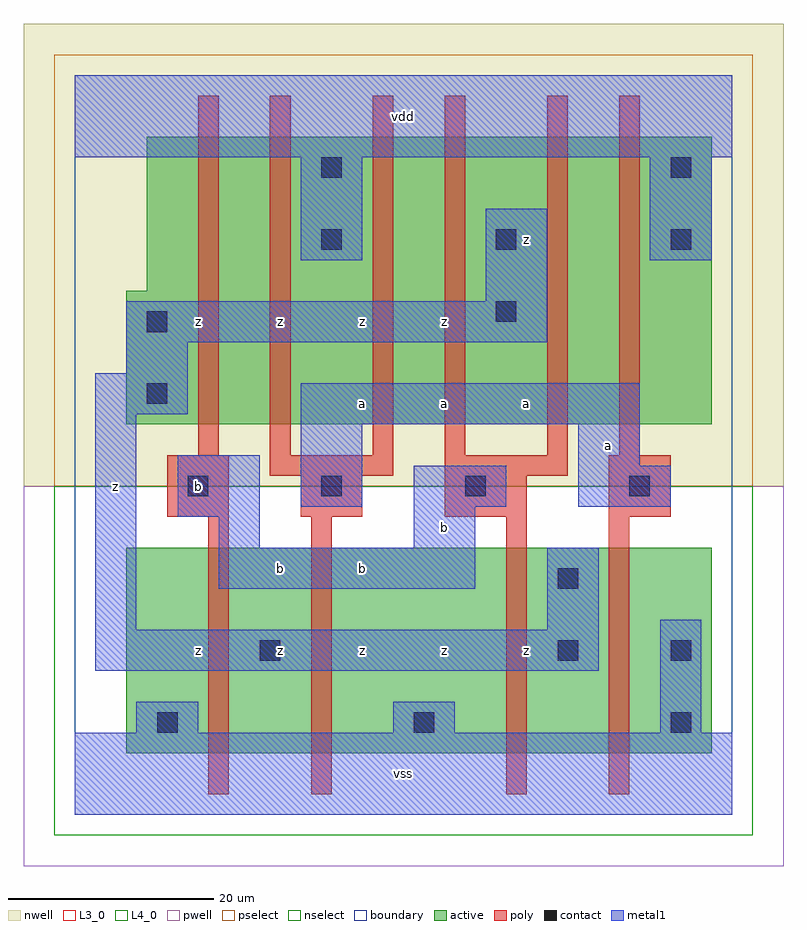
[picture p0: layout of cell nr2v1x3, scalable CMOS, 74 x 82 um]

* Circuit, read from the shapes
.subckt nr2v1x3 a b vdd vss z
M1 z b vss VSUBS nfet w=20u l=2u m=2
M2 vss a z VSUBS nfet w=20u l=2u m=2
M3 n1 b z n2 pfet w=28u l=2u
M4 vdd a n1 n2 pfet w=28u l=2u
M5 n3 a vdd n2 pfet w=28u l=2u
M6 z b n3 n2 pfet w=28u l=2u
M7 n4 b z n2 pfet w=28u l=2u
M8 vdd a n4 n2 pfet w=28u l=2u
.ends

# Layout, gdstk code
import gdstk
lib = gdstk.Library(unit=1e-6, precision=1e-09)
def R(c, l, rs):  # rectangles x0, y0, x1, y1
    for r in rs: c.add(gdstk.rectangle(r[:2], r[2:], *l))
def A(c, l, x, y, w, h, nx, ny, dx, dy):  # array of equal rectangles
    R(c, l, [(x+i*dx, y+j*dy, x+i*dx+w, y+j*dy+h) for i in range(nx) for j in range(ny)])
L3_0 = (3, 0)
L4_0 = (4, 0)
contact = (25, 0)
pwell = (41, 0)
nwell = (42, 0)
active = (43, 0)
pselect = (44, 0)
nselect = (45, 0)
poly = (46, 0)
metal1 = (49, 0)
boundary = (63, 0)

nr2v1x3 = lib.new_cell('nr2v1x3')
R(nr2v1x3, L3_0, [(5,6,62,26)])
R(nr2v1x3, L4_0, [(5,38,62,51), (7,51,62,66)])
A(nr2v1x3, contact, 8, 8, 2, 2, 3, 1, 25, 0)
A(nr2v1x3, contact, 24, 55, 2, 2, 3, 1, 17, 0)
R(nr2v1x3, contact, [(18,15,20,17), (47,15,49,17), (58,15,60,17), (47,22,49,24), (11,31,13,33), (24,31,26,33), (38,31,40,33), (54,31,56,33), (7,40,9,42), (7,47,9,49), (41,48,43,50), (24,62,26,64), (58,62,60,64)])
R(nr2v1x3, pwell, [(-5,-5,69,32)])
R(nr2v1x3, nwell, [(-5,32,69,77)])
R(nr2v1x3, active, [(5,6,62,26), (5,38,62,51), (7,51,62,66)])
R(nr2v1x3, pselect, [(-2,32,66,74)])
R(nr2v1x3, nselect, [(-2,-2,66,32)])
R(nr2v1x3, poly, [(13,2,15,29), (23,2,25,29), (42,2,44,29), (52,2,54,29), (9,29,15,35), (22,29,28,33), (36,29,44,33), (52,29,58,35), (19,33,31,35), (36,33,48,35), (12,35,14,70), (19,35,21,70), (29,35,31,70), (36,35,38,70), (46,35,48,70), (53,35,55,70)])
R(nr2v1x3, metal1, [(0,0,64,8), (6,8,12,11), (31,8,37,11), (57,8,61,19), (2,14,51,18), (2,18,6,39), (46,18,51,26), (14,22,39,26), (14,26,18,29), (33,26,39,30), (10,29,18,35), (22,30,28,38), (33,30,42,34), (49,30,58,34), (49,34,55,38), (22,38,55,42), (2,39,11,43), (5,43,11,46), (5,46,46,50), (40,50,46,59), (22,54,28,64), (56,54,62,64), (0,64,64,72)])
R(nr2v1x3, boundary, [(0,0,64,72)])
nr2v1x3.add(gdstk.Label('z', (12,16), layer=49, texttype=0))
nr2v1x3.add(gdstk.Label('b', (12,32), layer=49, texttype=0))
nr2v1x3.add(gdstk.Label('z', (4,32), layer=49, texttype=0))
nr2v1x3.add(gdstk.Label('z', (12,48), layer=49, texttype=0))
nr2v1x3.add(gdstk.Label('z', (20,16), layer=49, texttype=0))
nr2v1x3.add(gdstk.Label('z', (28,16), layer=49, texttype=0))
nr2v1x3.add(gdstk.Label('b', (28,24), layer=49, texttype=0))
nr2v1x3.add(gdstk.Label('b', (20,24), layer=49, texttype=0))
nr2v1x3.add(gdstk.Label('a', (28,40), layer=49, texttype=0))
nr2v1x3.add(gdstk.Label('z', (28,48), layer=49, texttype=0))
nr2v1x3.add(gdstk.Label('z', (20,48), layer=49, texttype=0))
nr2v1x3.add(gdstk.Label('vss', (32,4), layer=49, texttype=0))
nr2v1x3.add(gdstk.Label('z', (44,16), layer=49, texttype=0))
nr2v1x3.add(gdstk.Label('z', (36,16), layer=49, texttype=0))
nr2v1x3.add(gdstk.Label('b', (36,28), layer=49, texttype=0))
nr2v1x3.add(gdstk.Label('a', (44,40), layer=49, texttype=0))
nr2v1x3.add(gdstk.Label('a', (36,40), layer=49, texttype=0))
nr2v1x3.add(gdstk.Label('z', (36,48), layer=49, texttype=0))
nr2v1x3.add(gdstk.Label('z', (44,56), layer=49, texttype=0))
nr2v1x3.add(gdstk.Label('vdd', (32,68), layer=49, texttype=0))
nr2v1x3.add(gdstk.Label('a', (52,36), layer=49, texttype=0))

lib.write_gds('nr2v1x3.gds')
